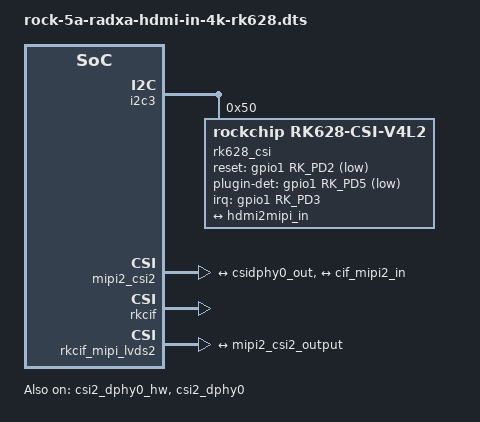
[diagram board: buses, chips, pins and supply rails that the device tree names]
/dts-v1/;
/plugin/;

#include <dt-bindings/gpio/gpio.h>
#include <dt-bindings/interrupt-controller/irq.h>
#include <dt-bindings/pinctrl/rockchip.h>
#include <dt-bindings/power/rk3588-power.h>

/ {
	metadata {
		title = "Enable Radxa 4K HDMI IN to MIPI CSI-2 Adapter";
		compatible = "radxa,rock-5a", "radxa,rock-5c";
		category = "camera";
		exclusive = "csi2_dphy0", "GPIO1_D2", "GPIO1_D3", "GPIO1_D5";
		description = "Enable Radxa 4K HDMI IN to MIPI CSI-2 Adapter.
To capture audio, also enable the ‘I2S1-M0 capture-only dummy sound card’ overlay.";
	};
};

&i2c3 {
	status = "okay";
	#address-cells = <1>;
	#size-cells = <0>;

	rk628_csi: rk628-csi@50 {
		compatible = "rockchip,rk628-csi-v4l2";
		reg = <0x50>;
		power-domains = <&power RK3588_PD_VI>;
		pinctrl-names = "default";
		pinctrl-0 = <&rk628_pin>;
		interrupt-parent = <&gpio1>;
		interrupts = <RK_PD3 IRQ_TYPE_LEVEL_HIGH>;
		reset-gpios = <&gpio1 RK_PD2 GPIO_ACTIVE_LOW>;
		plugin-det-gpios = <&gpio1 RK_PD5 GPIO_ACTIVE_LOW>;
		continues-clk = <1>;

		rockchip,camera-module-index = <0>;
		rockchip,camera-module-facing = "back";
		rockchip,camera-module-name = "HDMI-MIPI2";
		rockchip,camera-module-lens-name = "RK628-CSI";

		port {
			hdmiin_out: endpoint {
				remote-endpoint = <&hdmi2mipi_in>;
				data-lanes = <1 2 3 4>;
			};
		};
	};
};

&csi2_dphy0_hw {
	status = "okay";
};

&csi2_dphy0 {
	status = "okay";

	ports {
		#address-cells = <1>;
		#size-cells = <0>;

		port@0 {
			reg = <0>;
			#address-cells = <1>;
			#size-cells = <0>;

			hdmi2mipi_in: endpoint@1 {
				reg = <1>;
				remote-endpoint = <&hdmiin_out>;
				data-lanes = <1 2 3 4>;
			};
		};

		port@1 {
			reg = <1>;

			csidphy0_out: endpoint {
				remote-endpoint = <&mipi2_csi2_input>;
			};
		};
	};
};

&mipi2_csi2 {
	status = "okay";

	ports {
		#address-cells = <1>;
		#size-cells = <0>;

		port@0 {
			reg = <0>;
			#address-cells = <1>;
			#size-cells = <0>;

			mipi2_csi2_input: endpoint@1 {
				reg = <1>;
				remote-endpoint = <&csidphy0_out>;
			};
		};

		port@1 {
			reg = <1>;

			mipi2_csi2_output: endpoint {
				remote-endpoint = <&cif_mipi2_in>;
			};
		};
	};
};

&rkcif {
	status = "okay";
};

&rkcif_mipi_lvds2 {
	status = "okay";

	port {
		cif_mipi2_in: endpoint {
			remote-endpoint = <&mipi2_csi2_output>;
		};
	};
};

&rkcif_mmu {
	status = "okay";
};

&pinctrl {
	hdmiin {
		rk628_pin: rk628-pin {
			rockchip,pins =
				<1 RK_PD3 RK_FUNC_GPIO &pcfg_pull_none>,
				<1 RK_PD2 RK_FUNC_GPIO &pcfg_pull_none>,
				<1 RK_PD5 RK_FUNC_GPIO &pcfg_pull_none>;
		};
	};
};
